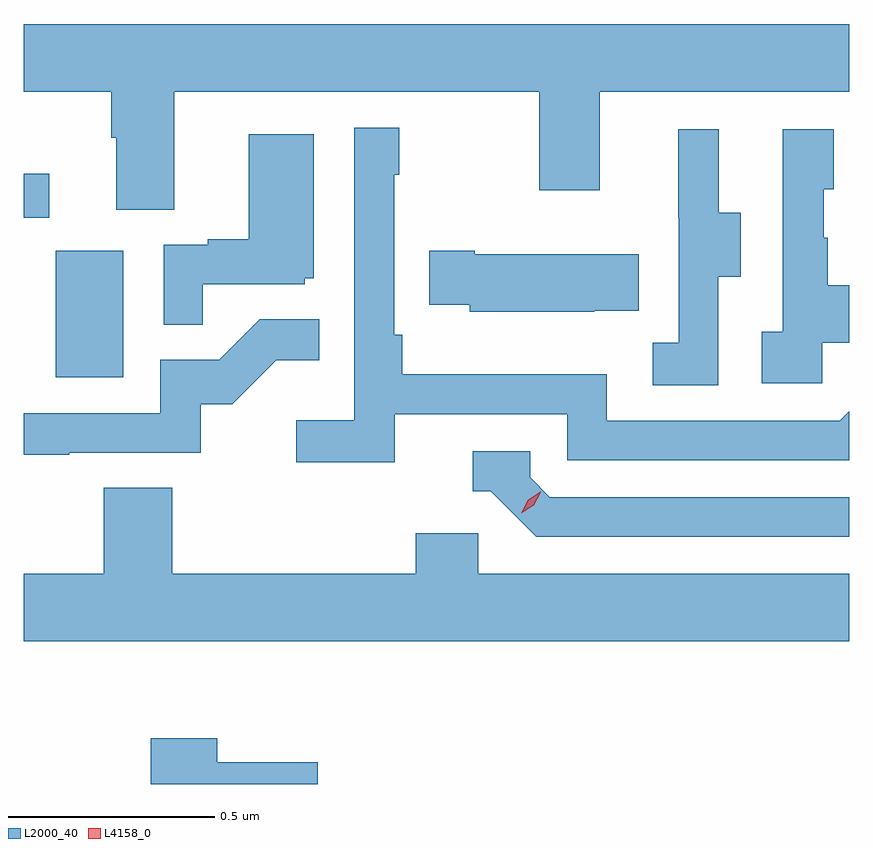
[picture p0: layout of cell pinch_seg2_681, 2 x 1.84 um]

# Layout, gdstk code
import gdstk
lib = gdstk.Library(unit=1e-6, precision=1e-09)
def R(c, l, rs):  # rectangles x0, y0, x1, y1
    for r in rs: c.add(gdstk.rectangle(r[:2], r[2:], *l))
def P(c, l, *ps):  # polygons
    for p in ps: c.add(gdstk.Polygon(p, *l))
L2000_40 = (2000, 40)
L4158_0 = (4158, 0)

pinch_seg2_681 = lib.new_cell('pinch_seg2_681')
R(pinch_seg2_681, L2000_40, [(1036.67,600.324,1036.834,600.631), (1036.593,600.711,1036.654,600.817)])
P(pinch_seg2_681, L2000_40, [(1036.957,601.016),(1037.842,601.016),(1037.842,600.777),(1037.989,600.777),(1037.989,601.016),(1038.593,601.016),(1038.593,601.18),(1036.593,601.18),(1036.593,601.016),(1036.805,601.016),(1036.805,600.904),(1036.817,600.904),(1036.817,600.73),(1036.957,600.73)],
  [(1037.492,600.234),(1037.91,600.234),(1037.91,600.123),(1038.593,600.123),(1038.593,600.242),(1038.57,600.219),(1038.006,600.219),(1038.006,600.331),(1037.51,600.331),(1037.51,600.427),(1037.49,600.427),(1037.49,600.815),(1037.503,600.815),(1037.503,600.928),(1037.394,600.928),(1037.394,600.22),(1037.253,600.22),(1037.253,600.118),(1037.492,600.118)],
  [(1038.276,600.568),(1038.331,600.568),(1038.331,600.723),(1038.277,600.723),(1038.277,600.925),(1038.179,600.925),(1038.179,600.711),(1038.18,600.711),(1038.18,600.407),(1038.117,600.407),(1038.117,600.304),(1038.276,600.304)],
  [(1038.528,600.407),(1038.593,600.407),(1038.593,600.547),(1038.541,600.547),(1038.541,600.662),(1038.531,600.662),(1038.531,600.78),(1038.556,600.78),(1038.556,600.925),(1038.432,600.925),(1038.432,600.434),(1038.381,600.434),(1038.381,600.309),(1038.528,600.309)],
  [(1037.027,600.549),(1037.274,600.549),(1037.274,600.564),(1037.296,600.564),(1037.296,600.913),(1037.138,600.913),(1037.138,600.658),(1037.039,600.658),(1037.039,600.645),(1036.932,600.645),(1036.932,600.451),(1037.027,600.451)],
  [(1037.975,600.485),(1038.083,600.485),(1038.083,600.622),(1037.686,600.622),(1037.686,600.63),(1037.575,600.63),(1037.575,600.5),(1037.673,600.5),(1037.673,600.482),(1037.975,600.482)],
  [(1036.703,600.141),(1037.022,600.141),(1037.022,600.258),(1037.098,600.258),(1037.205,600.365),(1037.309,600.365),(1037.309,600.464),(1037.165,600.464),(1037.067,600.366),(1036.923,600.366),(1036.923,600.237),(1036.593,600.237),(1036.593,600.136),(1036.703,600.136)],
  [(1038.593,600.033),(1037.868,600.033),(1037.82,600.081),(1037.82,600.144),(1037.681,600.144),(1037.681,600.048),(1037.724,600.048),(1037.835,599.937),(1038.593,599.937)],
  [(1038.593,599.848),(1037.694,599.848),(1037.694,599.946),(1037.543,599.946),(1037.543,599.848),(1036.952,599.848),(1036.952,600.056),(1036.787,600.056),(1036.787,599.848),(1036.593,599.848),(1036.593,599.684),(1038.593,599.684)],
  [(1037.305,599.391),(1037.062,599.391),(1037.062,599.449),(1036.901,599.449),(1036.901,599.338),(1037.305,599.338)])
P(pinch_seg2_681, L4158_0, [(1037.798,599.994),(1037.798,599.994),(1037.814,600.026),(1037.845,600.046),(1037.846,600.046),(1037.846,600.045),(1037.829,600.013),(1037.798,599.994)])

lib.write_gds('pinch_seg2_681.gds')
